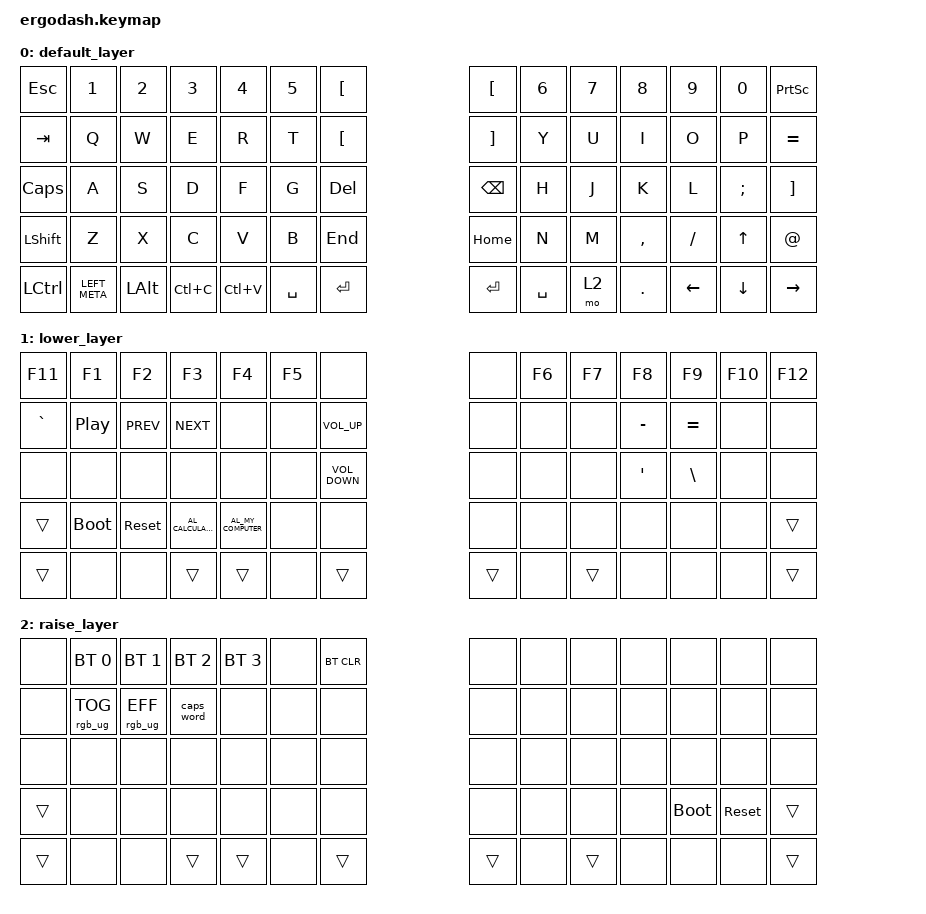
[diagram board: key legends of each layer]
/*
 * Copyright (c) 2020 The ZMK Contributors
 *
 * SPDX-License-Identifier: MIT
 */

#include <behaviors.dtsi>
#include <dt-bindings/zmk/bt.h>
#include <dt-bindings/zmk/keys.h>
#include <dt-bindings/zmk/rgb.h>

#define DEFAULT 0
#define LOWER   1
#define RAISE   2

/ {
    combos {
        compatible = "zmk,combos";

        ml1 {
            bindings = <&kp ENTER>;
            key-positions = <48 62>;
            layers = <0>;
        };

        HOME_combo {
            bindings = <&kp HOME>;
            key-positions = <67 68>;
        };

        END_Combo {
            bindings = <&kp END>;
            key-positions = <69 68>;
        };

        AbreCorchete {
            bindings = <&kp SQT>;
            key-positions = <38 39>;
        };

        CierreCorchete {
            bindings = <&kp BACKSLASH>;
            key-positions = <52 53>;
        };

        Interrogacion {
            bindings = <&kp MINUS>;
            key-positions = <25 24>;
        };

        asterisco {
            bindings = <&kp KP_ASTERISK>;
            key-positions = <39 40>;
        };
    };

    keymap {
        compatible = "zmk,keymap";

        default_layer {
            /* QWERTY
 * .----------------------------------------------------------------------------------------------------------------------.
 * |  `   |   1  |   2  |   3  |   4  |   5  |  [   |                    |  ]   |   6  |   7  |   8  |   9  |   0  | PScr |
 * |------+------+------+------+------+------+------+--------------------+------+------+------+------+------+------+------|
 * | ESC  |   Q  |   W  |   E  |   R  |   T  |  -   |                    |  =   |   Y  |   U  |   I  |   O  |   P  |  \   |
 * |------+------+------+------+------+------+------+--------------------+------+------+------+------+------+------+------|
 * | Tab  |   A  |   S  |   D  |   F  |   G  | Del  |                    | Bksp |   H  |   J  |   K  |   L  |   ;  |  '   |
 * |------+------+------+------+------+------+---------------------------+------+------+------+------+------+------+------|
 * | Shift|   Z  |   X  |   C  |   V  |   B  | End  |                    | Home |   N  |   M  |   ,  |   .  |   /  | Shift|
 * |-------------+------+------+------+------+------+------+------+------+------+------+------+------+------+-------------|
 * | Ctrl |      | PGDN | Win  |||||||| Alt  | Space| Lower|||||||| Raise| Enter| RAlt ||||||||      | PGUP | Ins  | RCtrl|
 * .----------------------------------------------------------------------------------------------------------------------.
 */

            bindings = <
&kp ESCAPE  &kp N1         &kp N2    &kp N3     &kp N4     &kp N5  &kp LEFT_BRACKET                        &kp LEFT_BRACKET   &kp N6  &kp N7  &kp N8      &kp N9          &kp N0        &kp PSCRN
&kp TAB     &kp Q          &kp W     &kp E      &kp R      &kp T   &kp LEFT_BRACKET                        &kp RIGHT_BRACKET  &kp Y   &kp U   &kp I       &kp O           &kp P         &kp EQUAL
&kp CAPS    &kp A          &kp S     &kp D      &kp F      &kp G   &kp DEL                                 &kp BSPC           &kp H   &kp J   &kp K       &kp L           &kp SEMI      &kp RIGHT_BRACKET
&kp LSHFT   &kp Z          &kp X     &kp C      &kp V      &kp B                     &kp END    &kp HOME                      &kp N   &kp M   &kp COMMA   &kp SLASH       &kp UP_ARROW  &kp AT_SIGN
&kp LCTRL   &kp LEFT_META  &kp LALT  &kp LC(C)  &kp LC(V)          &kp SPACE         &kp ENTER  &kp ENTER  &kp SPACE                  &mo 2   &kp PERIOD  &kp LEFT_ARROW  &kp DOWN      &kp RIGHT
            >;
        };

        lower_layer {
            /* .----------------------------------------------------------------------------------------------------------------------.
 * |  F11 |  F1  |  F2  |  F3  |  F4  |  F5  |      |                    |      |  F6  |  F7  |  F8  |  F9  |  F10 |  F12 |
 * |------+------+------+------+------+------+------+--------------------+------+------+------+------+------+------+------|
 * |      |      |      |      |      |      |      |                    |      |      |      |      |      |      |      |
 * |------+------+------+------+------+------+------+--------------------+------+------+------+------+------+------+------|
 * |      |      |      |      |      |      |      |                    |      |      |      |      |      |      |      |
 * |------+------+------+------+------+------+---------------------------+------+------+------+------+------+------+------|
 * | Shift| Boot | Reset|      |      |      |      |                    |      |      |      |      |      |      | Shift|
 * |-------------+------+------+------+------+------+------+------+------+------+------+------+------+------+-------------|
 * | Ctlr |      |      |  Win |||||||| Alt  |      | Lower|||||||| Raise|      | RAlt ||||||||      |      |      | RCtrl|
 * .----------------------------------------------------------------------------------------------------------------------.
 */ /* FIXME boot and reset are not yet locale aware */
            bindings = <
&kp F11    &kp F1            &kp F2      &kp F3               &kp F4                &kp F5  &none                              &none  &kp F6  &kp F7  &kp F8     &kp F9         &kp F10  &kp F12
&kp GRAVE  &kp C_PLAY_PAUSE  &kp C_PREV  &kp C_NEXT           &none                 &none   &kp C_VOLUME_UP                    &none  &none   &none   &kp MINUS  &kp EQUAL      &none    &none
&none      &none             &none       &none                &none                 &none   &kp C_VOLUME_DOWN                  &none  &none   &none   &kp APOS   &kp BACKSLASH  &none    &none
&trans     &bootloader       &sys_reset  &kp C_AL_CALCULATOR  &kp C_AL_MY_COMPUTER  &none                      &none   &none          &none   &none   &none      &none          &none    &trans
&trans     &none             &none       &trans               &trans                        &none              &trans  &trans  &none          &trans  &none      &none          &none    &trans
            >;
        };

        raise_layer {
            /* .----------------------------------------------------------------------------------------------------------------------.
 * |      | BT 0 | BT 1 | BT 2 | BT 3 |      | BTCL |                    |      |      |      |      |      |      |      |
 * |------+------+------+------+------+------+------+--------------------+------+------+------+------+------+------+------|
 * |      |      |      |      |      |      |      |                    |      |      |      |      |      |      |      |
 * |------+------+------+------+------+------+------+--------------------+------+------+------+------+------+------+------|
 * |      |      |      |      |      |      |      |                    |      |      |      |      |      |      |      |
 * |------+------+------+------+------+------+---------------------------+------+------+------+------+------+------+------|
 * | Shift|      |      |      |      |      |      |                    |      |      |      |      | Boot | Reset| Shift|
 * |-------------+------+------+------+------+------+------+------+------+------+------+------+------+------+-------------|
 * | Ctlr |      |      |  Win |||||||| Alt  |      | Lower|||||||| Raise|      | RAlt ||||||||      |      |      | RCtrl|
 * .----------------------------------------------------------------------------------------------------------------------.
 */ /* FIXME boot and reset are not yet locale aware */
            bindings = <
&none   &bt BT_SEL 0     &bt BT_SEL 1     &bt BT_SEL 2  &bt BT_SEL 3  &none  &bt BT_CLR                  &none  &none  &none   &none  &none        &none       &none
&none   &rgb_ug RGB_TOG  &rgb_ug RGB_EFF  &caps_word    &none         &none  &none                       &none  &none  &none   &none  &none        &none       &none
&none   &none            &none            &none         &none         &none  &none                       &none  &none  &none   &none  &none        &none       &none
&trans  &none            &none            &none         &none         &none              &none   &none          &none  &none   &none  &bootloader  &sys_reset  &trans
&trans  &none            &none            &trans        &trans               &none       &trans  &trans  &none         &trans  &none  &none        &none       &trans
            >;
        };
    };
};
